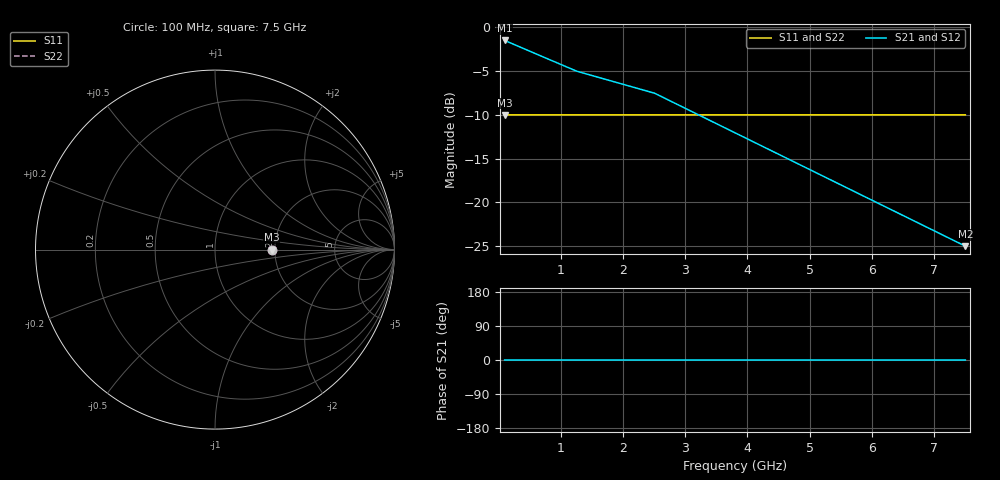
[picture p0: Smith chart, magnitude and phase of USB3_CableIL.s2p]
!Scilab S-parameters Toolbox
!Created on 02/14/14 at 14:46:00
!Filename: C:\Technical Info\SignalIntegrity\SignalIntegrityTests\ScilabTest\SparamToolBox\Utilities\S2P_MaskPlotter\USB3_CableIL.s2p
# GHZ S RI R 50.00
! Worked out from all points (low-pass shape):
!   2001 points, 100 MHz to 7.5 GHz, reference 50 ohm
!   highest |S21| = -1.50 dB at 100 MHz (marker M1); lowest = -25.0 dB at 7.5 GHz (marker M2)
!   |S21| within 3 dB of the highest: start of sweep to 1.086 GHz
!   lowest |S11| = -10.0 dB at 100 MHz (marker M3), VSWR 1.92, Z = 96.2 + j2.14e-07 ohm
!   |S11| at or under -10 dB: start of sweep to end of sweep
!   |S22| runs from -10.0 to -10.0 dB; largest |S21 - S12| = 0
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0.1  0.3162 1e-09  0.841 1e-09  0.841 1e-09  0.3162 1e-09
0.1333  0.3162 1e-09  0.8312 1e-09  0.8312 1e-09  0.3162 1e-09
0.4811  0.3162 1e-09  0.7358 1e-09  0.7358 1e-09  0.3162 1e-09
0.7808  0.3162 1e-09  0.6625 1e-09  0.6625 1e-09  0.3162 1e-09
0.988  0.3162 1e-09  0.6161 1e-09  0.6161 1e-09  0.3162 1e-09
1.2026  0.3162 1e-09  0.5715 1e-09  0.5715 1e-09  0.3162 1e-09
1.3358  0.3162 1e-09  0.5513 1e-09  0.5513 1e-09  0.3162 1e-09
1.8871  0.3162 1e-09  0.4856 1e-09  0.4856 1e-09  0.3162 1e-09
2.4643  0.3162 1e-09  0.4252 1e-09  0.4252 1e-09  0.3162 1e-09
2.5679  0.3162 1e-09  0.4103 1e-09  0.4103 1e-09  0.3162 1e-09
2.8565  0.3162 1e-09  0.3653 1e-09  0.3653 1e-09  0.3162 1e-09
3.1599  0.3162 1e-09  0.3232 1e-09  0.3232 1e-09  0.3162 1e-09
3.4744  0.3162 1e-09  0.2848 1e-09  0.2848 1e-09  0.3162 1e-09
3.8  0.3162 1e-09  0.2497 1e-09  0.2497 1e-09  0.3162 1e-09
4.0886  0.3162 1e-09  0.2223 1e-09  0.2223 1e-09  0.3162 1e-09
4.392  0.3162 1e-09  0.1967 1e-09  0.1967 1e-09  0.3162 1e-09
5.0358  0.3162 1e-09  0.1518 1e-09  0.1518 1e-09  0.3162 1e-09
5.6278  0.3162 1e-09  0.1196 1e-09  0.1196 1e-09  0.3162 1e-09
6.2679  0.3162 1e-09  0.0924 1e-09  0.0924 1e-09  0.3162 1e-09
6.8747  0.3162 1e-09  0.0723 1e-09  0.0723 1e-09  0.3162 1e-09
7.463  0.3162 1e-09  0.0571 1e-09  0.0571 1e-09  0.3162 1e-09
7.5  0.3162 1e-09  0.0562 1e-09  0.0562 1e-09  0.3162 1e-09
